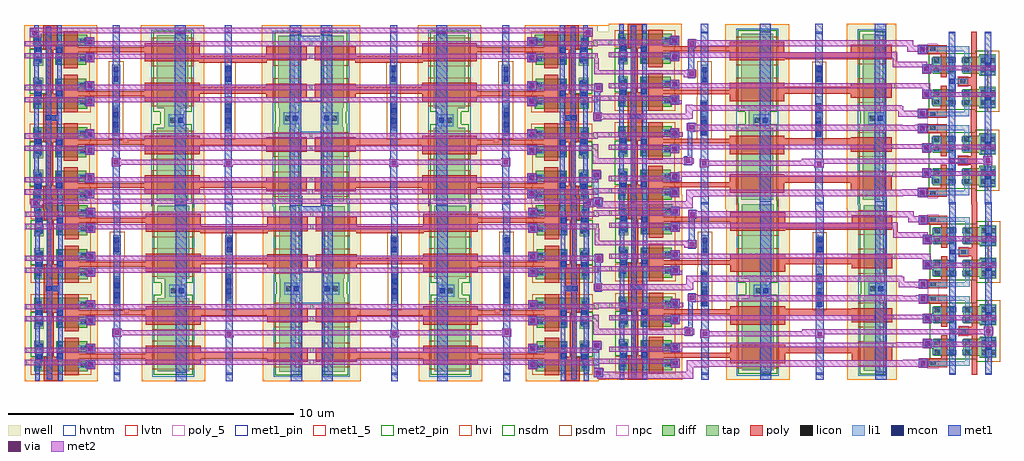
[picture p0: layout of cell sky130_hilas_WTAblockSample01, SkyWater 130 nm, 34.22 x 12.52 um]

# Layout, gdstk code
from math import pi, radians
import gdstk
lib = gdstk.Library(unit=1e-6, precision=1e-09)
def R(c, l, rs):  # rectangles x0, y0, x1, y1
    for r in rs: c.add(gdstk.rectangle(r[:2], r[2:], *l))
def A(c, l, x, y, w, h, nx, ny, dx, dy):  # array of equal rectangles
    R(c, l, [(x+i*dx, y+j*dy, x+i*dx+w, y+j*dy+h) for i in range(nx) for j in range(ny)])
nwell = (64, 20)
diff = (65, 20)
tap = (65, 44)
poly_5 = (66, 5)
poly = (66, 20)
licon = (66, 44)
li1 = (67, 20)
mcon = (67, 44)
met1_5 = (68, 5)
met1_pin = (68, 16)
met1 = (68, 20)
via = (68, 44)
met2_pin = (69, 16)
met2 = (69, 20)
hvi = (75, 20)
nsdm = (93, 44)
psdm = (94, 20)
npc = (95, 20)
hvntm = (125, 20)
lvtn = (125, 44)

sky130_hilas_tuncap01 = lib.new_cell('sky130_hilas_TunCap01')
R(sky130_hilas_tuncap01, nwell, [(-14.51,-4,-12.78,-2.1)])
R(sky130_hilas_tuncap01, tap, [(-13.94,-3.67,-13.35,-2.47)])
R(sky130_hilas_tuncap01, poly, [(-14.36,-3.33,-12.93,-2.83)])
R(sky130_hilas_tuncap01, hvi, [(-14.51,-4,-12.78,-2.1)])
R(sky130_hilas_tuncap01, nsdm, [(-14.065,-3.795,-13.225,-2.345)])
R(sky130_hilas_tuncap01, hvntm, [(-14.125,-3.855,-13.165,-2.285)])
R(sky130_hilas_tuncap01, lvtn, [(-14.12,-3.51,-13.17,-2.65)])

sky130_hilas_fgvaractorc = lib.new_cell('sky130_hilas_FGVaractorCapacitor')
R(sky130_hilas_fgvaractorc, nwell, [(-9.57,-3.95,-7.34,-2.1)])
R(sky130_hilas_fgvaractorc, tap, [(-9.01,-3.61,-7.9,-2.44)])
R(sky130_hilas_fgvaractorc, poly, [(-9.41,-3.36,-7.49,-2.72)])
R(sky130_hilas_fgvaractorc, met1, [(-8.92,-3.95,-8.54,-2.09)])
R(sky130_hilas_fgvaractorc, hvi, [(-9.57,-3.95,-7.34,-2.1)])
R(sky130_hilas_fgvaractorc, nsdm, [(-9.135,-3.735,-7.775,-2.315)])
R(sky130_hilas_fgvaractorc, hvntm, [(-9.195,-3.795,-7.715,-2.255)])
R(sky130_hilas_fgvaractorc, lvtn, [(-9.19,-3.54,-7.72,-2.54)])

sky130_hilas_li2m2 = lib.new_cell('sky130_hilas_li2m2')
R(sky130_hilas_li2m2, li1, [(-0.13,-0.12,0.19,-0.09), (-0.13,-0.09,0.2,0.1), (-0.13,0.1,0.19,0.14)])
R(sky130_hilas_li2m2, mcon, [(-0.07,-0.08,0.1,0.09)])
R(sky130_hilas_li2m2, met1, [(-0.14,-0.15,0.18,0.17)])
R(sky130_hilas_li2m2, via, [(-0.055,-0.065,0.095,0.085)])
R(sky130_hilas_li2m2, met2, [(-0.14,-0.15,0.17,0.18)])

sky130_hilas_horizpcell0 = lib.new_cell('sky130_hilas_horizPcell01')
R(sky130_hilas_horizpcell0, nwell, [(-2.89,0.41,-0.33,2.32)])
R(sky130_hilas_horizpcell0, diff, [(-2.54,0.75,-0.66,1.11), (-2.51,1.44,-1.43,1.8)])
R(sky130_hilas_horizpcell0, tap, [(-1,1.39,-0.66,1.83)])
R(sky130_hilas_horizpcell0, poly, [(-1.5,0.42,-1,1.27), (-2.22,0.62,-1.72,1.19), (-2.89,1.19,-1.72,1.36), (-1.35,1.27,-1.16,2.05), (-2.22,1.36,-1.72,1.93)])
R(sky130_hilas_horizpcell0, licon, [(-2.465,0.88,-2.295,1.05), (-0.915,0.88,-0.745,1.05), (-2.465,1.5,-2.295,1.67), (-0.915,1.515,-0.745,1.685), (-1.65,1.52,-1.48,1.69)])
R(sky130_hilas_horizpcell0, li1, [(-0.93,0.8,-0.73,1.15), (-2.55,0.88,-2.21,1.05), (-0.93,1.15,-0.72,1.18), (-1.66,1.17,-1.46,1.77), (-0.94,1.18,-0.72,1.77), (-2.55,1.5,-2.21,1.67)])
R(sky130_hilas_horizpcell0, mcon, [(-0.92,1.18,-0.75,1.35), (-1.65,1.21,-1.48,1.38)])
R(sky130_hilas_horizpcell0, met1, [(-1.66,0.42,-1.5,1.15), (-0.85,0.42,-0.69,1.12), (-1.29,0.47,-1.1,1.46), (-0.96,1.12,-0.69,1.67), (-1.66,1.15,-1.46,1.17), (-1.68,1.17,-1.45,1.41), (-1.66,1.41,-1.45,1.46), (-1.66,1.46,-1.5,2.32), (-1.27,1.46,-1.1,1.58), (-1.26,1.58,-1.1,2.32), (-0.96,1.67,-0.68,1.72), (-0.85,1.72,-0.68,1.81), (-0.85,1.81,-0.69,2.32)])
R(sky130_hilas_horizpcell0, met2, [(-2.51,0.97,-0.33,1.15), (-2.89,1.4,-2.8,1.58), (-2.5,1.4,-0.33,1.58)])
R(sky130_hilas_horizpcell0, hvi, [(-2.89,0.41,-0.33,2.32)])
R(sky130_hilas_horizpcell0, nsdm, [(-1.125,1.265,-0.535,1.955)])
R(sky130_hilas_horizpcell0, psdm, [(-2.665,0.625,-0.535,1.235), (-2.635,1.235,-1.305,1.925)])
sky130_hilas_horizpcell0.add(gdstk.Reference(sky130_hilas_li2m2, (-2.66,1.01), x_reflection=True))
sky130_hilas_horizpcell0.add(gdstk.Reference(sky130_hilas_li2m2, (-2.66,1.56), x_reflection=True))

sky130_hilas_wellcontact = lib.new_cell('sky130_hilas_wellContact')
R(sky130_hilas_wellcontact, nwell, [(-14.48,-4.4,-12.75,-2.56)])
R(sky130_hilas_wellcontact, tap, [(-13.94,-4.05,-13.35,-3.31)])
R(sky130_hilas_wellcontact, licon, [(-13.735,-3.82,-13.565,-3.65)])
R(sky130_hilas_wellcontact, li1, [(-14.06,-3.95,-13.51,-3.52)])
R(sky130_hilas_wellcontact, mcon, [(-14.01,-3.82,-13.84,-3.65)])
R(sky130_hilas_wellcontact, met1, [(-14.12,-4.41,-13.73,-2.55)])
R(sky130_hilas_wellcontact, hvi, [(-14.48,-4.4,-12.75,-2.56)])
R(sky130_hilas_wellcontact, nsdm, [(-14.065,-4.175,-13.225,-3.185)])

sky130_hilas_cellattempt = lib.new_cell('sky130_hilas_cellAttempt01')
R(sky130_hilas_cellattempt, nwell, [(1.68,-2.53,2.79,-2.26), (-2.06,-2.51,-1.47,-2.32), (6.32,-0.88,6.49,-0.72), (6.66,-0.88,6.67,-0.72), (6.32,-0.72,6.67,-0.71), (1.68,0.71,2.79,0.94), (-2.06,0.77,-1.47,0.88), (-2.63,1.12,-2.56,1.3)])
R(sky130_hilas_cellattempt, tap, [(1.68,-2.53,2.79,-2.26), (-2.06,-2.51,-1.47,-2.32), (0.16,-1.43,0.41,-0.03), (4.09,-1.42,4.34,-0.17), (0.15,0.39,0.41,1.05), (4.07,0.41,4.34,1.07), (1.68,0.71,2.79,0.94), (-2.06,0.77,-1.47,0.88)])
R(sky130_hilas_cellattempt, poly_5, [(3.79,-1.66,3.96,-1.51)])
R(sky130_hilas_cellattempt, poly, [(-1.05,-3.25,1.28,-3.01), (3.2,-3.25,4.89,-3.09), (-1.07,-1.75,1.3,-1.51), (3.2,-1.73,4.88,-1.56), (3.77,-1.56,3.97,-1.5), (6.32,-0.88,6.49,-0.72), (6.65,-0.88,6.67,-0.72), (6.32,-0.72,6.67,-0.71), (3.19,-0.03,4.88,0.14), (-1.07,0.05,1.28,0.29), (-1.07,1.14,1.3,1.38), (3.2,1.51,4.88,1.68)])
A(sky130_hilas_cellattempt, licon, 4.13, -1.29, 0.17, 0.17, 1, 3, 0, 0.34)
A(sky130_hilas_cellattempt, licon, 0.2, -1.15, 0.17, 0.17, 1, 3, 0, 0.34)
R(sky130_hilas_cellattempt, licon, [(6.32,-0.88,6.49,-0.71), (4.13,0.64,4.3,0.81), (0.19,0.65,0.36,0.82)])
R(sky130_hilas_cellattempt, li1, [(4.13,-1.37,4.3,-0.36), (0.2,-1.23,0.37,-0.22), (6.23,-0.88,6.67,-0.71), (4.13,0.47,4.3,1), (0.19,0.48,0.36,1.01)])
R(sky130_hilas_cellattempt, mcon, [(4.13,-1.12,4.3,-0.95), (0.2,-0.98,0.37,-0.81), (6.495,-0.88,6.665,-0.71), (4.13,-0.76,4.3,-0.59), (0.2,-0.62,0.37,-0.45), (4.13,0.47,4.3,0.64), (0.19,0.48,0.36,0.65), (4.13,0.83,4.3,1), (0.19,0.84,0.36,1.01)])
R(sky130_hilas_cellattempt, met1_pin, [(0.16,-3.82,0.4,-3.76), (1.77,-3.82,2.15,-3.73), (4.09,-3.82,4.33,-3.76), (-2.28,2.11,-1.88,2.23), (1.77,2.13,2.15,2.23), (0.16,2.18,0.4,2.23), (4.09,2.18,4.33,2.23), (6.48,2.18,6.67,2.23), (6.92,2.18,7.08,2.23), (6.11,2.19,6.27,2.23)])
R(sky130_hilas_cellattempt, met1, [(-2.28,-4.04,-1.88,2.46), (0.16,-4.04,0.4,-2.54), (1.77,-4.04,2.15,-3.44), (4.09,-4.04,4.33,-2.5), (0.15,-2.54,0.41,-2.22), (4.08,-2.5,4.34,-2.18), (0.16,-2.22,0.4,0.39), (4.09,-2.18,4.33,0.41), (6.56,-0.95,6.67,-0.91), (6.46,-0.91,6.7,-0.89), (6.26,-0.89,6.7,-0.7), (6.46,-0.7,6.7,-0.68), (6.54,-0.68,6.67,-0.66), (0.15,0.39,0.41,1.05), (4.07,0.41,4.34,1.07), (0.16,1.05,0.4,2.46), (4.09,1.07,4.33,2.46), (1.77,2.13,2.15,2.46), (6.48,2.18,6.67,2.23), (6.92,2.18,7.08,2.23), (6.11,2.19,6.27,2.23)])
R(sky130_hilas_cellattempt, via, [(0.205,-2.455,0.355,-2.305), (4.135,-2.415,4.285,-2.265)])
R(sky130_hilas_cellattempt, met2_pin, [(-2.63,-3.47,-2.55,-3.3), (-2.63,-3.05,-2.57,-2.87), (-2.63,-1.95,-2.57,-1.77), (-2.63,-1.52,-2.57,-1.34), (-2.63,-0.25,-2.57,-0.07), (-2.63,0.18,-2.57,0.36), (-2.63,1.28,-2.57,1.46), (-2.63,1.72,-2.57,1.9)])
R(sky130_hilas_cellattempt, met2, [(-2.63,-3.47,4.97,-3.3), (-2.63,-3.05,4.99,-2.87), (0.12,-2.51,0.44,-2.44), (4.05,-2.49,4.37,-2.44), (0.12,-2.44,4.37,-2.26), (0.12,-2.26,0.44,-2.25), (4.05,-2.26,4.37,-2.2), (-2.63,-1.95,5,-1.77), (-2.63,-1.52,4.99,-1.34), (-2.63,-0.25,5,-0.07), (-2.63,0.18,5,0.36), (-2.63,1.28,5,1.46), (-2.63,1.72,5,1.9)])
R(sky130_hilas_cellattempt, hvi, [(-2.245,-2.835,-1.285,-1.995), (1.495,-2.815,2.975,-1.975), (-2.245,0.405,-1.285,1.245), (1.495,0.405,2.975,1.245)])
R(sky130_hilas_cellattempt, nsdm, [(1.555,-2.655,2.915,-2.135), (-2.185,-2.635,-1.345,-2.195), (6.645,-2.495,7.235,-2.325), (1.555,0.585,2.915,1.065), (-2.185,0.645,-1.345,1.005), (6.645,0.735,7.235,0.915)])
R(sky130_hilas_cellattempt, psdm, [(5.135,-2.525,6.465,-2.295), (0.035,-1.555,0.535,0.265), (3.965,-1.545,4.465,0.285), (0.025,0.265,0.535,1.175), (3.945,0.285,4.465,1.195), (5.135,0.705,6.465,0.945)])
R(sky130_hilas_cellattempt, npc, [(6.22,-0.98,6.59,-0.61)])
R(sky130_hilas_cellattempt, hvntm, [(-2.275,-1.305,-2.245,-0.935), (1.495,-0.955,2.975,-0.645), (-2.275,-0.935,-1.285,-0.615), (-2.275,-0.615,-2.245,-0.195)])
sky130_hilas_cellattempt.add(gdstk.Reference(sky130_hilas_tuncap01, (11.88,-0.04)))
sky130_hilas_cellattempt.add(gdstk.Reference(sky130_hilas_tuncap01, (11.88,1.35)))
sky130_hilas_cellattempt.add(gdstk.Reference(sky130_hilas_fgvaractorc, (10.69,-0.09)))
sky130_hilas_cellattempt.add(gdstk.Reference(sky130_hilas_fgvaractorc, (10.69,1.3)))
sky130_hilas_cellattempt.add(gdstk.Reference(sky130_hilas_horizpcell0, (7.77,-4.45)))
sky130_hilas_cellattempt.add(gdstk.Reference(sky130_hilas_horizpcell0, (7.77,-0.37), x_reflection=True))
sky130_hilas_cellattempt.add(gdstk.Reference(sky130_hilas_tuncap01, (11.88,3.24)))
sky130_hilas_cellattempt.add(gdstk.Reference(sky130_hilas_wellcontact, (11.85,2.93)))
sky130_hilas_cellattempt.add(gdstk.Reference(sky130_hilas_fgvaractorc, (10.69,3.15)))
sky130_hilas_cellattempt.add(gdstk.Reference(sky130_hilas_wellcontact, (15.88,2.86)))
sky130_hilas_cellattempt.add(gdstk.Reference(sky130_hilas_horizpcell0, (7.77,-1.22)))
sky130_hilas_cellattempt.add(gdstk.Reference(sky130_hilas_tuncap01, (11.88,4.55)))
sky130_hilas_cellattempt.add(gdstk.Reference(sky130_hilas_fgvaractorc, (10.69,4.55)))
sky130_hilas_cellattempt.add(gdstk.Reference(sky130_hilas_horizpcell0, (7.77,2.87), x_reflection=True))
sky130_hilas_cellattempt.add(gdstk.Label('FG3', (3.875,-1.585), layer=66, texttype=5))
sky130_hilas_cellattempt.add(gdstk.Label('VTUN', (-2.08,2.17), layer=68, texttype=16))
sky130_hilas_cellattempt.add(gdstk.Label('VINJ', (7,2.205), layer=68, texttype=16))
sky130_hilas_cellattempt.add(gdstk.Label('COLSEL1', (6.575,2.205), layer=68, texttype=16))
sky130_hilas_cellattempt.add(gdstk.Label('COL1', (6.19,2.21), layer=68, texttype=16))
sky130_hilas_cellattempt.add(gdstk.Label('GATE1', (1.96,2.18), layer=68, texttype=16))
sky130_hilas_cellattempt.add(gdstk.Label('GATE1', (1.96,-3.775), layer=68, texttype=16))
sky130_hilas_cellattempt.add(gdstk.Label('ROW4', (-2.6,-2.96), layer=69, texttype=16))
sky130_hilas_cellattempt.add(gdstk.Label('VGND', (0.28,2.205), layer=68, texttype=16))
sky130_hilas_cellattempt.add(gdstk.Label('VGND', (4.21,2.205), layer=68, texttype=16))
sky130_hilas_cellattempt.add(gdstk.Label('VGND', (4.21,-3.79), layer=68, texttype=16))
sky130_hilas_cellattempt.add(gdstk.Label('VGND', (0.28,-3.79), layer=68, texttype=16))
sky130_hilas_cellattempt.add(gdstk.Label('DRAIN4', (-2.59,-3.385), layer=69, texttype=16))
sky130_hilas_cellattempt.add(gdstk.Label('DRAIN1', (-2.6,1.81), layer=69, texttype=16))
sky130_hilas_cellattempt.add(gdstk.Label('ROW1', (-2.6,1.37), layer=69, texttype=16))
sky130_hilas_cellattempt.add(gdstk.Label('ROW3', (-2.6,-1.86), layer=69, texttype=16))
sky130_hilas_cellattempt.add(gdstk.Label('DRAIN3', (-2.6,-1.43), layer=69, texttype=16))
sky130_hilas_cellattempt.add(gdstk.Label('DRAIN2', (-2.6,-0.16), layer=69, texttype=16))
sky130_hilas_cellattempt.add(gdstk.Label('ROW2', (-2.6,0.27), layer=69, texttype=16))

sky130_hilas_swc4x2cell = lib.new_cell('sky130_hilas_swc4x2cell')
R(sky130_hilas_swc4x2cell, nwell, [(-10.04,3.53,-9.97,3.65), (-10.04,3.65,-9.91,3.71), (9.8,5.83,9.89,6.13)])
R(sky130_hilas_swc4x2cell, met1_5, [(9.12,5.96,9.31,6.01)])
R(sky130_hilas_swc4x2cell, met1_pin, [(-9.68,-0.04,-9.52,0.02), (-6.93,-0.04,-6.69,0.04), (-4.75,-0.04,-4.37,0.05), (-3,-0.04,-2.76,0.03), (-0.72,-0.04,-0.32,0.08), (0.36,-0.04,0.76,0.08), (2.8,-0.04,3.04,0.03), (4.41,-0.04,4.79,0.11), (6.73,-0.04,6.97,0.02), (-9.27,-0.03,-9.08,0.03), (-8.87,-0.03,-8.71,0.03), (8.75,-0.03,8.91,0.03), (9.12,-0.03,9.31,0.03), (9.56,-0.03,9.72,0.03), (-0.72,5.88,-0.32,6.01), (-4.75,5.91,-4.37,6.01), (0.36,5.91,0.76,6.01), (4.41,5.91,4.79,6.01), (6.73,5.94,6.97,6.01), (-6.93,5.95,-6.69,6.01), (-3,5.95,-2.76,6.01), (-9.68,5.96,-9.52,6.01), (-9.27,5.96,-9.08,6.01), (-8.87,5.96,-8.71,6.01), (2.8,5.96,3.04,6.01), (8.75,5.96,8.91,6.01), (9.56,5.96,9.72,6.01)])
R(sky130_hilas_swc4x2cell, met1, [(-9.68,-0.04,-9.52,0.02), (-6.93,-0.04,-6.69,0.04), (-4.75,-0.04,-4.37,0.05), (-3,-0.04,-2.76,0.03), (-0.72,-0.04,-0.32,0.08), (0.36,-0.04,0.76,0.08), (2.8,-0.04,3.04,0.03), (4.41,-0.04,4.79,0.11), (6.73,-0.04,6.97,0.02), (-9.27,-0.03,-9.08,0.03), (-8.87,-0.03,-8.71,0.03), (8.75,-0.03,8.91,0.03), (9.12,-0.03,9.31,0.03), (9.56,-0.03,9.72,0.03), (-0.32,5.65,0.36,5.87), (-9.68,5.67,-9.52,5.82), (9.56,5.67,9.72,5.84), (-9.84,5.82,-9.52,5.97), (9.56,5.84,9.89,6.01), (-0.72,5.88,-0.32,6.01), (-4.75,5.91,-4.37,6.01), (0.36,5.91,0.76,6.01), (4.41,5.91,4.79,6.01), (-6.93,5.92,-6.69,6.01), (6.73,5.94,6.97,6.01), (-3,5.95,-2.76,6.01), (-9.27,5.96,-9.08,6.01), (-8.87,5.96,-8.71,6.01), (2.8,5.96,3.04,6.01), (8.75,5.96,8.91,6.01), (9.12,5.96,9.31,6.01), (-9.83,5.97,-9.52,6.11), (9.57,6.01,9.89,6.12)])
R(sky130_hilas_swc4x2cell, via, [(-9.745,5.895,-9.595,6.045), (9.655,5.905,9.805,6.055)])
R(sky130_hilas_swc4x2cell, met2_pin, [(-10.04,0.3,-9.97,0.48), (9.99,0.3,10.08,0.48), (-10.04,0.73,-9.97,0.91), (9.99,0.73,10.08,0.91), (-10.04,1.83,-9.97,2.01), (9.99,1.83,10.08,2.01), (-10.04,2.26,-9.97,2.44), (9.99,2.26,10.08,2.44), (-10.04,3.53,-9.97,3.71), (10.02,3.53,10.08,3.71), (-10.04,3.96,-9.98,4.14), (10.02,3.96,10.08,4.14), (-10.04,5.07,-9.97,5.25), (9.99,5.07,10.08,5.25), (-10.04,5.5,-9.98,5.68), (9.99,5.5,10.08,5.68)])
R(sky130_hilas_swc4x2cell, met2, [(-10.04,0.3,-9.97,0.48), (9.99,0.3,10.08,0.48), (-10.04,0.73,-9.97,0.91), (9.99,0.73,10.08,0.91), (-3.34,1.34,3.42,1.52), (-10.04,1.83,-9.97,2.01), (9.99,1.83,10.08,2.01), (-10.04,2.26,-9.97,2.44), (9.99,2.26,10.08,2.44), (-10.04,3.53,-9.91,3.71), (10.02,3.53,10.08,3.71), (-10.04,3.96,-9.98,4.14), (10.02,3.96,10.08,4.14), (-10.04,5.07,-9.97,5.25), (9.99,5.07,10.08,5.25), (-10.04,5.5,-9.98,5.68), (9.99,5.5,10.08,5.68), (-9.84,5.82,-9.42,5.96), (9.56,5.83,9.9,5.96), (-9.84,5.96,9.9,6.14)])
R(sky130_hilas_swc4x2cell, hvntm, [(-0.325,2.475,0.365,3.585)])
sky130_hilas_swc4x2cell.add(gdstk.Reference(sky130_hilas_cellattempt, (-2.6,3.78), rotation=pi, x_reflection=True))
sky130_hilas_swc4x2cell.add(gdstk.Reference(sky130_hilas_cellattempt, (2.64,3.78)))
sky130_hilas_swc4x2cell.add(gdstk.Label('SelectGate2', (9.215,5.985), layer=68, texttype=5))
sky130_hilas_swc4x2cell.add(gdstk.Label('GATE2', (4.6,5.96), layer=68, texttype=16))
sky130_hilas_swc4x2cell.add(gdstk.Label('GATE2', (4.6,0.035), layer=68, texttype=16))
sky130_hilas_swc4x2cell.add(gdstk.Label('VTUN', (-0.52,0.02), layer=68, texttype=16))
sky130_hilas_swc4x2cell.add(gdstk.Label('VTUN', (0.56,0.02), layer=68, texttype=16))
sky130_hilas_swc4x2cell.add(gdstk.Label('VTUN', (0.56,5.96), layer=68, texttype=16))
sky130_hilas_swc4x2cell.add(gdstk.Label('VTUN', (-0.52,5.945), layer=68, texttype=16))
sky130_hilas_swc4x2cell.add(gdstk.Label('GATE1', (-4.56,5.96), layer=68, texttype=16))
sky130_hilas_swc4x2cell.add(gdstk.Label('GATE1', (-4.56,0.005), layer=68, texttype=16))
sky130_hilas_swc4x2cell.add(gdstk.Label('VINJ', (9.64,0), layer=68, texttype=16))
sky130_hilas_swc4x2cell.add(gdstk.Label('VINJ', (9.64,5.985), layer=68, texttype=16))
sky130_hilas_swc4x2cell.add(gdstk.Label('VINJ', (-9.6,5.985), layer=68, texttype=16))
sky130_hilas_swc4x2cell.add(gdstk.Label('VINJ', (-9.6,-0.01), layer=68, texttype=16))
sky130_hilas_swc4x2cell.add(gdstk.Label('GATESELECT1', (-9.175,5.985), layer=68, texttype=16))
sky130_hilas_swc4x2cell.add(gdstk.Label('GATESELECT1', (-9.175,0), layer=68, texttype=16))
sky130_hilas_swc4x2cell.add(gdstk.Label('GATESELECT2', (9.215,0), layer=68, texttype=16))
sky130_hilas_swc4x2cell.add(gdstk.Label('COL1', (-8.79,5.985), layer=68, texttype=16))
sky130_hilas_swc4x2cell.add(gdstk.Label('COL1', (-8.79,0), layer=68, texttype=16))
sky130_hilas_swc4x2cell.add(gdstk.Label('COL2', (8.83,0), layer=68, texttype=16))
sky130_hilas_swc4x2cell.add(gdstk.Label('COL2', (8.83,5.985), layer=68, texttype=16))
sky130_hilas_swc4x2cell.add(gdstk.Label('ROW1', (-10.005,5.16), layer=69, texttype=16))
sky130_hilas_swc4x2cell.add(gdstk.Label('ROW1', (10.035,5.16), layer=69, texttype=16))
sky130_hilas_swc4x2cell.add(gdstk.Label('ROW2', (-10.01,4.05), layer=69, texttype=16))
sky130_hilas_swc4x2cell.add(gdstk.Label('ROW2', (10.05,4.05), layer=69, texttype=16))
sky130_hilas_swc4x2cell.add(gdstk.Label('DRAIN1', (-10.01,5.59), layer=69, texttype=16))
sky130_hilas_swc4x2cell.add(gdstk.Label('DRAIN1', (10.035,5.59), layer=69, texttype=16))
sky130_hilas_swc4x2cell.add(gdstk.Label('DRAIN2', (-10.005,3.62), layer=69, texttype=16))
sky130_hilas_swc4x2cell.add(gdstk.Label('DRAIN2', (10.05,3.62), layer=69, texttype=16))
sky130_hilas_swc4x2cell.add(gdstk.Label('DRAIN3', (-10.005,2.35), layer=69, texttype=16))
sky130_hilas_swc4x2cell.add(gdstk.Label('DRAIN3', (10.035,2.35), layer=69, texttype=16))
sky130_hilas_swc4x2cell.add(gdstk.Label('ROW3', (-10.005,1.92), layer=69, texttype=16))
sky130_hilas_swc4x2cell.add(gdstk.Label('ROW3', (10.035,1.92), layer=69, texttype=16))
sky130_hilas_swc4x2cell.add(gdstk.Label('ROW4', (-10.005,0.82), layer=69, texttype=16))
sky130_hilas_swc4x2cell.add(gdstk.Label('ROW4', (10.035,0.82), layer=69, texttype=16))
sky130_hilas_swc4x2cell.add(gdstk.Label('DRAIN4', (-10.005,0.39), layer=69, texttype=16))
sky130_hilas_swc4x2cell.add(gdstk.Label('DRAIN4', (10.035,0.39), layer=69, texttype=16))
sky130_hilas_swc4x2cell.add(gdstk.Label('VGND', (-6.81,5.98), layer=68, texttype=16))
sky130_hilas_swc4x2cell.add(gdstk.Label('VGND', (-6.81,0), layer=68, texttype=16))
sky130_hilas_swc4x2cell.add(gdstk.Label('VGND', (-2.88,-0.005), layer=68, texttype=16))
sky130_hilas_swc4x2cell.add(gdstk.Label('VGND', (-2.88,5.98), layer=68, texttype=16))
sky130_hilas_swc4x2cell.add(gdstk.Label('VGND', (2.92,-0.005), layer=68, texttype=16))
sky130_hilas_swc4x2cell.add(gdstk.Label('VGND', (6.85,-0.01), layer=68, texttype=16))
sky130_hilas_swc4x2cell.add(gdstk.Label('VGND', (2.92,5.985), layer=68, texttype=16))
sky130_hilas_swc4x2cell.add(gdstk.Label('VGND', (6.85,5.975), layer=68, texttype=16))

sky130_hilas_m12m2 = lib.new_cell('sky130_hilas_m12m2')
R(sky130_hilas_m12m2, met1, [(-0.06,-0.1,0.2,0.22)])
R(sky130_hilas_m12m2, via, [(-0.005,-0.015,0.145,0.135)])
R(sky130_hilas_m12m2, met2, [(-0.09,-0.07,0.23,0.19)])

sky130_hilas_wtasinglest = lib.new_cell('sky130_hilas_WTAsinglestage01')
R(sky130_hilas_wtasinglest, diff, [(1.16,-0.42,1.46,-0.34), (-0.47,-0.34,0.32,0.25), (0.59,-0.34,1.46,0.25), (1.16,0.25,1.46,0.33)])
R(sky130_hilas_wtasinglest, tap, [(1.46,-0.42,1.75,0.33)])
R(sky130_hilas_wtasinglest, poly, [(-0.63,-0.75,0.02,-0.43), (0.88,-0.47,1.08,0.38), (-0.18,-0.43,0.02,0.38), (0.43,0.38,1.08,0.66)])
R(sky130_hilas_wtasinglest, licon, [(-0.55,-0.7,-0.38,-0.53), (-0.41,-0.3,-0.24,-0.13), (0.09,-0.3,0.26,-0.13), (0.65,-0.3,0.82,-0.13), (1.22,-0.3,1.39,-0.13), (1.56,-0.3,1.73,-0.13), (-0.41,0.04,-0.24,0.21), (0.09,0.04,0.26,0.21), (0.65,0.04,0.82,0.21), (1.22,0.04,1.39,0.21), (1.56,0.04,1.73,0.21), (0.51,0.44,0.68,0.61)])
R(sky130_hilas_wtasinglest, li1, [(-0.64,-0.7,0.82,-0.53), (0.65,-0.53,0.82,-0.3), (1.22,-0.38,1.73,0.29), (-0.5,-0.3,-0.16,0.21), (0.01,-0.3,0.34,-0.13), (0.56,-0.3,0.9,-0.13), (0.09,-0.13,0.26,0.04), (0.65,-0.13,0.82,0.04), (0.01,0.04,0.34,0.21), (0.56,0.04,0.9,0.21), (0.09,0.21,0.34,0.44), (0.09,0.44,0.76,0.61), (0.11,0.61,0.32,0.63)])
R(sky130_hilas_wtasinglest, mcon, [(1.39,-0.13,1.56,0.04), (0.13,0.44,0.3,0.61)])
R(sky130_hilas_wtasinglest, met1, [(0.1,-0.76,0.33,0.67), (1.36,-0.76,1.59,0.53)])
R(sky130_hilas_wtasinglest, met2, [(-1.08,-0.72,-0.96,-0.51), (-0.54,-0.02,1.75,0.14)])
R(sky130_hilas_wtasinglest, nsdm, [(1.035,-0.545,1.46,-0.465), (-0.595,-0.465,1.46,0.375), (1.035,0.375,1.46,0.455)])
R(sky130_hilas_wtasinglest, psdm, [(1.46,-0.545,1.875,0.455)])
R(sky130_hilas_wtasinglest, npc, [(-0.65,-0.8,-0.28,-0.43), (0.41,0.34,0.78,0.71)])
sky130_hilas_wtasinglest.add(gdstk.Reference(sky130_hilas_li2m2, (-0.69,0.07)))
sky130_hilas_wtasinglest.add(gdstk.Reference(sky130_hilas_li2m2, (-0.84,-0.61)))

sky130_hilas_wta4stage01 = lib.new_cell('sky130_hilas_WTA4stage01')
R(sky130_hilas_wta4stage01, poly, [(1.42,0.01,1.62,0.3), (1.41,2.29,1.62,3.08), (1.42,5.06,1.62,5.35)])
R(sky130_hilas_wta4stage01, met1, [(0.64,2.58,0.87,2.78), (1.9,2.58,2.13,2.79)])
R(sky130_hilas_wta4stage01, nsdm, [(-0.055,1.145,1.575,1.225), (-0.055,1.225,2,1.365), (-0.055,1.365,1.575,1.445), (-0.055,3.915,1.575,3.995), (-0.055,3.995,2,4.135), (-0.055,4.135,1.575,4.215)])
R(sky130_hilas_wta4stage01, psdm, [(2,1.225,2.415,1.365), (2,3.995,2.415,4.135)])
R(sky130_hilas_wta4stage01, npc, [(-0.11,2.62,0.26,2.74)])
sky130_hilas_wta4stage01.add(gdstk.Reference(sky130_hilas_wtasinglest, (0.54,3.54)))
sky130_hilas_wta4stage01.add(gdstk.Reference(sky130_hilas_wtasinglest, (0.54,4.59), x_reflection=True))
sky130_hilas_wta4stage01.add(gdstk.Reference(sky130_hilas_wtasinglest, (0.54,1.82), x_reflection=True))
sky130_hilas_wta4stage01.add(gdstk.Reference(sky130_hilas_wtasinglest, (0.54,0.77)))

sky130_hilas_swc4x1biasc = lib.new_cell('sky130_hilas_swc4x1BiasCell')
R(sky130_hilas_swc4x1biasc, nwell, [(1.68,-2.49,2.79,-2.3), (-2.06,-2.47,-1.47,-2.32), (6.32,-0.82,6.49,-0.72), (6.66,-0.82,6.67,-0.72), (6.32,-0.72,6.67,-0.71), (6.32,-0.71,6.49,-0.65), (4.88,-0.21,4.97,-0.13), (1.68,0.71,2.79,0.98), (-2.06,0.77,-1.47,0.93)])
R(sky130_hilas_swc4x1biasc, tap, [(1.68,-2.49,2.79,-2.3), (-2.06,-2.47,-1.47,-2.32), (-0.01,-1.45,0.16,-1.41), (3.96,-1.42,4.23,-0.18), (-0.06,-1.41,0.2,-0.03), (3.96,0.36,4.21,1.07), (-0.06,0.37,0.19,1.05), (1.68,0.71,2.79,0.98), (-2.06,0.77,-1.47,0.93)])
R(sky130_hilas_swc4x1biasc, poly, [(3.2,-3.22,4.88,-3.05), (-1.05,-3.07,1.32,-2.83), (-1.07,-1.75,1.3,-1.51), (3.2,-1.69,4.88,-1.52), (6.32,-0.82,6.49,-0.75), (6.65,-0.82,6.67,-0.75), (6.27,-0.75,6.77,-0.74), (6.32,-0.74,6.49,-0.72), (6.65,-0.74,6.67,-0.72), (6.32,-0.72,6.67,-0.71), (6.32,-0.71,6.49,-0.65), (3.2,0.03,4.88,0.2), (-1.07,0.05,1.28,0.29), (-1.05,1.27,1.28,1.51), (3.2,1.55,4.88,1.72)])
A(sky130_hilas_swc4x1biasc, licon, -0.01, -1.3, 0.17, 0.17, 1, 3, 0, 0.34)
A(sky130_hilas_swc4x1biasc, licon, 4.01, -1.24, 0.17, 0.17, 1, 3, 0, 0.34)
R(sky130_hilas_swc4x1biasc, licon, [(6.32,-0.82,6.49,-0.65), (4,0.62,4.17,0.79), (-0.02,0.65,0.15,0.82)])
R(sky130_hilas_swc4x1biasc, li1, [(-0.01,-1.45,0.16,-0.28), (4.01,-1.41,4.18,-0.22), (6.23,-0.82,6.67,-0.65), (4,0.45,4.17,0.98), (-0.02,0.48,0.15,1.01)])
R(sky130_hilas_swc4x1biasc, mcon, [(-0.01,-1.45,0.16,-1.28), (4.01,-1.41,4.18,-1.24), (-0.01,-1.09,0.16,-0.92), (4.01,-1.05,4.18,-0.88), (6.495,-0.82,6.665,-0.65), (-0.01,-0.45,0.16,-0.28), (4.01,-0.39,4.18,-0.22), (4,0.45,4.17,0.62), (-0.02,0.48,0.15,0.65), (4,0.81,4.17,0.98), (-0.02,0.84,0.15,1.01)])
R(sky130_hilas_swc4x1biasc, met1_5, [(6.48,2.16,6.67,2.23)])
R(sky130_hilas_swc4x1biasc, met1_pin, [(-2.28,-3.82,-1.88,-3.72), (-0.07,-3.82,0.2,-3.75), (1.77,-3.82,2.15,-3.72), (3.96,-3.82,4.21,-3.75), (6.11,-3.81,6.27,-3.74), (6.48,-3.81,6.67,-3.74), (6.92,-3.81,7.08,-3.74), (-2.28,2.09,-1.88,2.23), (1.77,2.13,2.15,2.23), (-0.07,2.15,0.2,2.23), (6.11,2.16,6.27,2.23), (6.92,2.16,7.08,2.23), (3.96,2.18,4.21,2.23)])
R(sky130_hilas_swc4x1biasc, met1, [(-2.28,-4,-1.88,2.5), (-0.07,-4,0.2,-2.55), (1.77,-4,2.15,-3.72), (3.96,-4,4.21,-2.54), (6.11,-3.81,6.27,-3.74), (6.48,-3.81,6.67,-3.74), (6.92,-3.81,7.08,-3.74), (-0.09,-2.55,0.22,-2.24), (3.95,-2.54,4.23,-2.52), (3.94,-2.52,4.24,-2.24), (-0.07,-2.24,0.2,2.5), (3.95,-2.24,4.23,-2.21), (3.96,-2.21,4.21,2.5), (6.56,-0.95,6.67,-0.85), (6.46,-0.85,6.7,-0.82), (6.27,-0.82,6.7,-0.75), (6.11,-0.75,6.7,-0.74), (6.92,-0.75,7.08,-0.74), (6.27,-0.74,6.7,-0.65), (6.46,-0.65,6.7,-0.62), (1.77,2.13,2.15,2.5), (6.11,2.16,6.27,2.23), (6.48,2.16,6.67,2.23), (6.92,2.16,7.08,2.23)])
R(sky130_hilas_swc4x1biasc, via, [(-0.01,-2.475,0.14,-2.325), (4.015,-2.455,4.165,-2.305)])
R(sky130_hilas_swc4x1biasc, met2_pin, [(7.33,-3.44,7.44,-3.26), (7.33,-3.01,7.44,-2.83), (-2.63,-2.85,-2.49,-2.7), (7.33,-1.91,7.44,-1.73), (-2.63,-1.87,-2.51,-1.71), (7.33,-1.48,7.44,-1.3), (7.35,-0.19,7.44,-0.01), (-2.63,0.24,-2.57,0.42), (7.35,0.24,7.44,0.42), (7.35,1.33,7.44,1.51), (7.35,1.76,7.44,1.94)])
R(sky130_hilas_swc4x1biasc, met2, [(7.33,-3.44,7.44,-3.26), (7.33,-3.01,7.44,-2.83), (-2.63,-2.86,5,-2.69), (-0.1,-2.53,0.23,-2.47), (3.93,-2.52,4.25,-2.47), (-0.1,-2.47,4.25,-2.3), (-0.1,-2.3,0.23,-2.27), (3.93,-2.3,4.25,-2.24), (7.33,-1.91,7.44,-1.73), (-1.86,-1.9,5,-1.73), (-2.62,-1.88,-2.16,-1.87), (-2.63,-1.87,-2.16,-1.71), (7.33,-1.48,7.44,-1.3), (4.85,-1.46,5,-1.29), (4.88,-0.31,5,-0.2), (4.88,-0.2,4.97,-0.17), (7.35,-0.19,7.44,-0.01), (-2.63,0.24,5,0.42), (7.35,0.24,7.44,0.42), (-2.63,1.32,4.98,1.51), (7.35,1.33,7.44,1.51), (7.35,1.76,7.44,1.94)])
R(sky130_hilas_swc4x1biasc, hvi, [(-2.245,-2.815,-1.285,-1.975), (1.495,-2.815,2.975,-1.975), (1.495,0.425,2.975,1.265), (-2.245,0.43,-1.285,1.27)])
R(sky130_hilas_swc4x1biasc, nsdm, [(1.555,-2.615,2.915,-2.175), (-2.185,-2.595,-1.345,-2.195), (6.645,-2.455,7.235,-2.285), (1.555,0.585,2.915,1.105), (-2.185,0.645,-1.345,1.055), (6.645,0.795,7.235,0.955)])
R(sky130_hilas_swc4x1biasc, psdm, [(5.135,-2.485,6.465,-2.255), (-0.135,-1.575,0.285,-1.535), (3.835,-1.545,4.355,-0.055), (-0.185,-1.535,0.325,0.095), (3.835,-0.055,4.335,1.195), (-0.185,0.095,0.315,1.175), (5.135,0.765,6.465,0.985)])
R(sky130_hilas_swc4x1biasc, npc, [(6.22,-0.92,6.59,-0.55)])
R(sky130_hilas_swc4x1biasc, hvntm, [(-2.275,-1.305,-2.245,-0.935), (1.495,-0.955,2.975,-0.645), (-2.275,-0.935,-1.285,-0.615), (-2.275,-0.615,-2.245,-0.195)])
R(sky130_hilas_swc4x1biasc, lvtn, [(1.5,-2.59,2.97,-2.24)])
sky130_hilas_swc4x1biasc.add(gdstk.Reference(sky130_hilas_tuncap01, (11.88,0)))
sky130_hilas_swc4x1biasc.add(gdstk.Reference(sky130_hilas_tuncap01, (11.88,1.35)))
sky130_hilas_swc4x1biasc.add(gdstk.Reference(sky130_hilas_fgvaractorc, (10.69,-0.05)))
sky130_hilas_swc4x1biasc.add(gdstk.Reference(sky130_hilas_fgvaractorc, (10.69,1.3)))
sky130_hilas_swc4x1biasc.add(gdstk.Reference(sky130_hilas_horizpcell0, (7.77,-4.41)))
sky130_hilas_swc4x1biasc.add(gdstk.Reference(sky130_hilas_horizpcell0, (7.77,-0.33), x_reflection=True))
sky130_hilas_swc4x1biasc.add(gdstk.Reference(sky130_hilas_tuncap01, (11.88,3.24)))
sky130_hilas_swc4x1biasc.add(gdstk.Reference(sky130_hilas_wellcontact, (11.85,2.93)))
sky130_hilas_swc4x1biasc.add(gdstk.Reference(sky130_hilas_fgvaractorc, (10.69,3.15)))
sky130_hilas_swc4x1biasc.add(gdstk.Reference(sky130_hilas_wellcontact, (15.88,2.86)))
sky130_hilas_swc4x1biasc.add(gdstk.Reference(sky130_hilas_horizpcell0, (7.77,-1.16)))
sky130_hilas_swc4x1biasc.add(gdstk.Reference(sky130_hilas_tuncap01, (11.88,4.6)))
sky130_hilas_swc4x1biasc.add(gdstk.Reference(sky130_hilas_fgvaractorc, (10.69,4.59)))
sky130_hilas_swc4x1biasc.add(gdstk.Reference(sky130_hilas_horizpcell0, (7.77,2.91), x_reflection=True))
sky130_hilas_swc4x1biasc.add(gdstk.Label('COLSEL1', (6.575,2.195), layer=68, texttype=5))
sky130_hilas_swc4x1biasc.add(gdstk.Label('ROW1', (7.395,1.42), layer=69, texttype=16))
sky130_hilas_swc4x1biasc.add(gdstk.Label('ROW2', (7.395,0.33), layer=69, texttype=16))
sky130_hilas_swc4x1biasc.add(gdstk.Label('ROW2', (-2.6,0.33), layer=69, texttype=16))
sky130_hilas_swc4x1biasc.add(gdstk.Label('ROW3', (-2.57,-1.79), layer=69, texttype=16))
sky130_hilas_swc4x1biasc.add(gdstk.Label('ROW3', (7.385,-1.82), layer=69, texttype=16))
sky130_hilas_swc4x1biasc.add(gdstk.Label('ROW4', (-2.56,-2.775), layer=69, texttype=16))
sky130_hilas_swc4x1biasc.add(gdstk.Label('ROW4', (7.385,-2.92), layer=69, texttype=16))
sky130_hilas_swc4x1biasc.add(gdstk.Label('VTUN', (-2.08,2.16), layer=68, texttype=16))
sky130_hilas_swc4x1biasc.add(gdstk.Label('VTUN', (-2.08,-3.77), layer=68, texttype=16))
sky130_hilas_swc4x1biasc.add(gdstk.Label('GATE1', (1.96,-3.77), layer=68, texttype=16))
sky130_hilas_swc4x1biasc.add(gdstk.Label('GATE1', (1.96,2.18), layer=68, texttype=16))
sky130_hilas_swc4x1biasc.add(gdstk.Label('VINJ', (7,2.195), layer=68, texttype=16))
sky130_hilas_swc4x1biasc.add(gdstk.Label('VINJ', (7,-3.775), layer=68, texttype=16))
sky130_hilas_swc4x1biasc.add(gdstk.Label('VPWR', (6.19,2.195), layer=68, texttype=16))
sky130_hilas_swc4x1biasc.add(gdstk.Label('VPWR', (6.19,-3.775), layer=68, texttype=16))
sky130_hilas_swc4x1biasc.add(gdstk.Label('COLSEL1', (6.575,-3.775), layer=68, texttype=16))
sky130_hilas_swc4x1biasc.add(gdstk.Label('VGND', (0.065,2.19), layer=68, texttype=16))
sky130_hilas_swc4x1biasc.add(gdstk.Label('VGND', (4.085,2.205), layer=68, texttype=16))
sky130_hilas_swc4x1biasc.add(gdstk.Label('VGND', (0.065,-3.785), layer=68, texttype=16))
sky130_hilas_swc4x1biasc.add(gdstk.Label('VGND', (4.085,-3.785), layer=68, texttype=16))
sky130_hilas_swc4x1biasc.add(gdstk.Label('DRAIN3', (7.385,-1.39), layer=69, texttype=16))
sky130_hilas_swc4x1biasc.add(gdstk.Label('DRAIN4', (7.385,-3.35), layer=69, texttype=16))
sky130_hilas_swc4x1biasc.add(gdstk.Label('DRAIN1', (7.395,1.85), layer=69, texttype=16))
sky130_hilas_swc4x1biasc.add(gdstk.Label('DRAIN2', (7.395,-0.1), layer=69, texttype=16))

c_sky130_hilas_wta4stage01 = lib.new_cell('sky130_hilas_WTA4Stage01')
R(c_sky130_hilas_wta4stage01, nwell, [(-11.01,-0.42,-10.6,2.54), (-11.12,2.54,-10.6,3.07), (-11.12,3.07,-10.61,3.27), (-11.12,3.27,-10.6,3.69), (-11.01,3.69,-10.6,5.45), (-11.01,5.45,-10.42,5.46), (-11.01,5.46,-10.6,5.61), (-1.29,5.48,-0.89,5.62), (-5.32,5.52,-4.94,5.62), (-11.01,5.61,-8.05,5.62)])
R(c_sky130_hilas_wta4stage01, poly, [(2.09,-0.43,2.29,-0.18), (2.09,5.16,2.29,5.62)])
R(c_sky130_hilas_wta4stage01, li1, [(-11.15,-0.25,-10.97,0.67)])
R(c_sky130_hilas_wta4stage01, met1_pin, [(1.31,-0.43,1.54,-0.37), (2.57,-0.43,2.8,-0.37), (-1.29,5.48,-0.89,5.62), (-5.31,5.52,-4.95,5.62), (-10.25,5.55,-10.09,5.62), (-9.84,5.55,-9.65,5.62), (-9.44,5.55,-9.28,5.62), (1.31,5.56,1.54,5.62), (2.57,5.56,2.8,5.62)])
R(c_sky130_hilas_wta4stage01, met1, [(-5.32,-0.43,-4.94,-0.33), (1.31,-0.43,1.54,-0.18), (2.57,-0.43,2.8,-0.18), (-7.84,0.93,-7.68,2.43), (2.53,0.94,2.83,1.26), (2.53,1.26,2.81,1.27), (2.57,1.27,2.8,1.32), (-11.12,2.54,-10.91,3.69), (-7.82,4.3,-7.61,5.04), (1.31,5.16,1.54,5.62), (2.57,5.16,2.8,5.62), (-1.29,5.34,-0.89,5.62), (-5.32,5.52,-4.94,5.62), (-10.25,5.55,-10.09,5.62), (-9.84,5.55,-9.65,5.62), (-9.44,5.55,-9.28,5.62)])
R(c_sky130_hilas_wta4stage01, via, [(2.6,1.03,2.75,1.18)])
R(c_sky130_hilas_wta4stage01, met2_pin, [(-11.18,-0.05,-11.09,0.13), (-11.19,0.47,-10.91,0.74), (2.91,0.56,2.96,0.72), (2.91,1.49,2.96,1.65), (-11.18,1.51,-10.98,1.68), (-11.16,1.91,-11.07,2.09), (-11.19,3.2,-11.1,3.38), (2.91,3.33,2.96,3.49), (-11.12,3.52,-10.86,3.78), (2.89,4.26,2.96,4.42), (-11.12,4.49,-10.97,4.69), (-11.16,5.15,-11.07,5.33)])
R(c_sky130_hilas_wta4stage01, met2, [(-11.03,-0.57,-7.66,-0.41), (-11.14,-0.41,-7.66,-0.33), (-11.14,-0.33,-10.8,-0.2), (-7.9,-0.33,-7.66,-0.16), (-7.9,-0.16,-7.13,-0.15), (-7.9,-0.15,-0.31,-0.14), (-7.9,-0.14,0.23,0.08), (-11.18,-0.05,-10.61,0.13), (-0.32,0.08,0.23,0.09), (-11.19,0.47,-10.91,0.74), (-0.55,0.53,0.39,0.54), (-0.55,0.54,0.45,0.71), (1.72,0.56,2.96,0.72), (2.51,0.96,2.84,0.99), (-11.18,0.98,-7.63,1.18), (-3.84,0.99,2.84,1.16), (2.51,1.16,2.84,1.25), (-11.18,1.18,-10.98,1.68), (1.7,1.49,2.96,1.65), (-0.56,1.52,0.44,1.68), (-11.16,1.91,-10.61,2.09), (-7.77,2.13,-7.45,2.14), (-7.77,2.14,0.24,2.34), (-7.77,2.34,-0.32,2.36), (-11.12,2.54,-7.75,2.56), (-11.12,2.56,-7.67,2.74), (-0.47,2.64,0.24,2.84), (-7.91,2.74,-7.67,2.84), (-7.91,2.84,-0.28,3.01), (-7.91,3.01,-0.34,3.04), (-7.91,3.04,-7.68,3.05), (-11.19,3.2,-10.61,3.38), (1.7,3.33,2.96,3.49), (0.38,3.49,0.41,3.51), (0.38,3.51,0.66,3.63), (-11.14,3.52,-10.82,3.79), (-0.55,3.63,0.66,3.71), (-0.54,3.71,0.66,3.81), (-7.99,4.02,-7.69,4.12), (-11.12,4.12,-7.69,4.18), (-11.12,4.18,-7.85,4.27), (1.7,4.26,2.96,4.42), (-11.12,4.27,-10.97,4.69), (-0.65,4.37,0.56,4.57), (-0.65,4.57,-0.5,4.9), (-0.65,4.9,-0.51,4.91), (-0.14,4.91,0.24,5.1), (-7.58,5.1,0.24,5.12), (-7.58,5.12,0.07,5.31), (-11.16,5.15,-10.43,5.33)])
R(c_sky130_hilas_wta4stage01, hvi, [(-11.01,-0.42,-10.61,2.54), (-11.12,2.54,-10.61,3.69), (-11.01,3.69,-10.61,5.62)])
c_sky130_hilas_wta4stage01.add(gdstk.Reference(sky130_hilas_m12m2, (-7.91,1.03)))
c_sky130_hilas_wta4stage01.add(gdstk.Reference(sky130_hilas_m12m2, (-11.07,2.58)))
c_sky130_hilas_wta4stage01.add(gdstk.Reference(sky130_hilas_m12m2, (-11.05,3.59)))
c_sky130_hilas_wta4stage01.add(gdstk.Reference(sky130_hilas_m12m2, (-7.76,5.14)))
c_sky130_hilas_wta4stage01.add(gdstk.Reference(sky130_hilas_m12m2, (-7.78,4.09)))
c_sky130_hilas_wta4stage01.add(gdstk.Reference(sky130_hilas_m12m2, (-7.78,2.21)))
c_sky130_hilas_wta4stage01.add(gdstk.Reference(sky130_hilas_li2m2, (-11.02,-0.37)))
c_sky130_hilas_wta4stage01.add(gdstk.Reference(sky130_hilas_li2m2, (-11.07,0.59)))
c_sky130_hilas_wta4stage01.add(gdstk.Reference(sky130_hilas_wta4stage01, (0.67,-0.19)))
c_sky130_hilas_wta4stage01.add(gdstk.Reference(sky130_hilas_swc4x1biasc, (-3.17,3.39), rotation=pi, x_reflection=True))
c_sky130_hilas_wta4stage01.add(gdstk.Label('VGND', (2.685,5.59), layer=68, texttype=16))
c_sky130_hilas_wta4stage01.add(gdstk.Label('VGND', (2.685,-0.4), layer=68, texttype=16))
c_sky130_hilas_wta4stage01.add(gdstk.Label('OUTPUT1', (2.925,4.34), layer=69, texttype=16))
c_sky130_hilas_wta4stage01.add(gdstk.Label('OUTPUT2', (2.935,3.41), layer=69, texttype=16))
c_sky130_hilas_wta4stage01.add(gdstk.Label('OUTPUT3', (2.935,1.57), layer=69, texttype=16))
c_sky130_hilas_wta4stage01.add(gdstk.Label('OUTPUT4', (2.935,0.64), layer=69, texttype=16))
c_sky130_hilas_wta4stage01.add(gdstk.Label('INPUT1', (-11.045,4.59), layer=69, texttype=16))
c_sky130_hilas_wta4stage01.add(gdstk.Label('INPUT2', (-10.99,3.65), layer=69, texttype=16))
c_sky130_hilas_wta4stage01.add(gdstk.Label('INPUT3', (-11.08,1.595), layer=69, texttype=16))
c_sky130_hilas_wta4stage01.add(gdstk.Label('INPUT4', (-11.05,0.605), layer=69, texttype=16))
c_sky130_hilas_wta4stage01.add(gdstk.Label('DRAIN1', (-11.115,5.24), layer=69, texttype=16))
c_sky130_hilas_wta4stage01.add(gdstk.Label('GATE1', (-5.13,5.57), layer=68, texttype=16))
c_sky130_hilas_wta4stage01.add(gdstk.Label('VTUN', (-1.09,5.55), layer=68, texttype=16))
c_sky130_hilas_wta4stage01.add(gdstk.Label('WTAMIDDLENODE', (1.425,-0.4), layer=68, texttype=16))
c_sky130_hilas_wta4stage01.add(gdstk.Label('WTAMIDDLENODE', (1.425,5.59), layer=68, texttype=16))
c_sky130_hilas_wta4stage01.add(gdstk.Label('COLSEL1', (-9.745,5.585), layer=68, texttype=16))
c_sky130_hilas_wta4stage01.add(gdstk.Label('VPWR', (-9.36,5.585), layer=68, texttype=16))
c_sky130_hilas_wta4stage01.add(gdstk.Label('VINJ', (-10.17,5.585), layer=68, texttype=16))
c_sky130_hilas_wta4stage01.add(gdstk.Label('DRAIN2', (-11.145,3.29), layer=69, texttype=16))
c_sky130_hilas_wta4stage01.add(gdstk.Label('DRAIN3', (-11.115,2), layer=69, texttype=16))
c_sky130_hilas_wta4stage01.add(gdstk.Label('DRAIN4', (-11.135,0.04), layer=69, texttype=16))

sky130_hilas_wtablocksam = lib.new_cell('sky130_hilas_WTAblockSample01')
R(sky130_hilas_wtablocksam, hvi, [(0.1,-0.23,0.47,-0.04), (0.07,11.98,0.45,12.21)])
R(sky130_hilas_wtablocksam, lvtn, [(-15.55,5.78,-14.11,6.12), (-5.84,5.78,-4.4,6.12), (4.94,5.82,6.39,6.16)])
sky130_hilas_wtablocksam.add(gdstk.Reference(sky130_hilas_swc4x2cell, (-10.01,5.97)))
sky130_hilas_wtablocksam.add(gdstk.Reference(sky130_hilas_swc4x2cell, (-9.98,-0.01)))
sky130_hilas_wtablocksam.add(gdstk.Reference(c_sky130_hilas_wta4stage01, (11.06,6.36)))
sky130_hilas_wtablocksam.add(gdstk.Reference(c_sky130_hilas_wta4stage01, (11.08,0.38)))

lib.write_gds('sky130_hilas_WTAblockSample01.gds')
